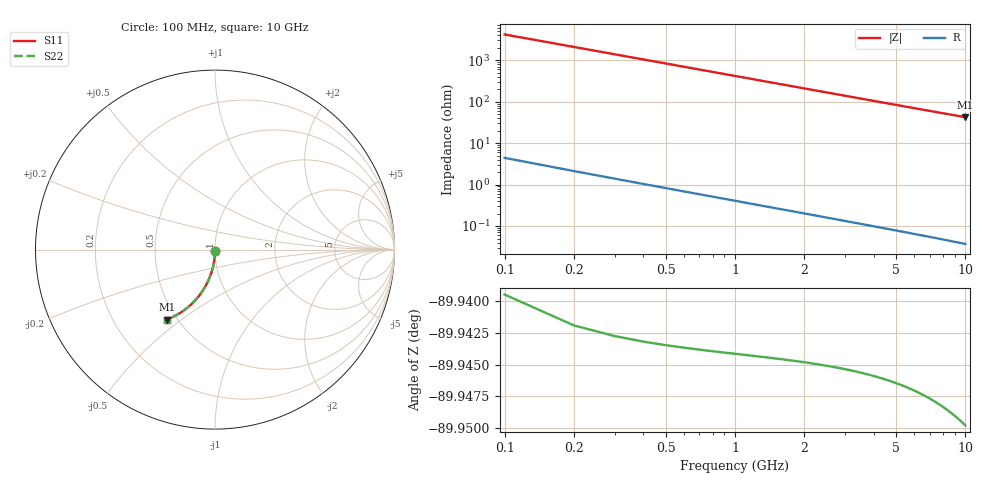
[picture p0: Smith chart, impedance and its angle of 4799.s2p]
# Hz S RI R 50.00
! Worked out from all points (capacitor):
!   100 points, 100 MHz to 10 GHz, reference 50 ohm
!   read as one part in shunt: C = 381 fF near 100 MHz
!   lowest |Z| = 42.3 ohm at 10 GHz (marker M1)
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1e8  0.000123 -0.00545  0.9998 -0.00652  0.9998 -0.00652  0.000123 -0.00545
2e8  1.2e-05 -0.0109  0.9997 -0.013  0.9997 -0.013  1.2e-05 -0.0109
3e8  -0.000171 -0.0163  0.9995 -0.0196  0.9995 -0.0196  -0.000171 -0.0163
4e8  -0.000424 -0.0218  0.9992 -0.0261  0.9992 -0.0261  -0.000424 -0.0218
5e8  -0.000749 -0.0272  0.9989 -0.0326  0.9989 -0.0326  -0.000749 -0.0272
6e8  -0.00114 -0.0327  0.9985 -0.0391  0.9985 -0.0391  -0.00114 -0.0327
7e8  -0.00161 -0.0381  0.998 -0.0456  0.998 -0.0456  -0.00161 -0.0381
8e8  -0.00215 -0.0435  0.9975 -0.0521  0.9975 -0.0521  -0.00215 -0.0435
9e8  -0.00275 -0.0489  0.9969 -0.0585  0.9969 -0.0585  -0.00275 -0.0489
1.1e9  -0.00418 -0.0597  0.9954 -0.0715  0.9954 -0.0715  -0.00418 -0.0597
1.4e9  -0.00683 -0.0758  0.9927 -0.0907  0.9927 -0.0907  -0.00683 -0.0758
1.8e9  -0.0113 -0.097  0.9881 -0.1162  0.9881 -0.1162  -0.0113 -0.097
2.1e9  -0.0154 -0.1127  0.984 -0.1351  0.984 -0.1351  -0.0154 -0.1127
2.5e9  -0.0218 -0.1332  0.9775 -0.16  0.9775 -0.16  -0.0218 -0.1332
2.9e9  -0.0291 -0.1533  0.97 -0.1844  0.97 -0.1844  -0.0291 -0.1533
3.4e9  -0.0397 -0.1778  0.9593 -0.2142  0.9593 -0.2142  -0.0397 -0.1778
4.2e9  -0.0596 -0.2149  0.9391 -0.26  0.9391 -0.26  -0.0596 -0.2149
5.1e9  -0.0857 -0.2533  0.9124 -0.3082  0.9124 -0.3082  -0.0857 -0.2533
5.9e9  -0.1118 -0.2842  0.8858 -0.3479  0.8858 -0.3479  -0.1118 -0.2842
6.7e9  -0.14 -0.3118  0.857 -0.3842  0.857 -0.3842  -0.14 -0.3118
8.4e9  -0.205 -0.3592  0.7904 -0.4505  0.7904 -0.4505  -0.205 -0.3592
1e10  -0.2691 -0.3901  0.7245 -0.4992  0.7245 -0.4992  -0.2691 -0.3901
